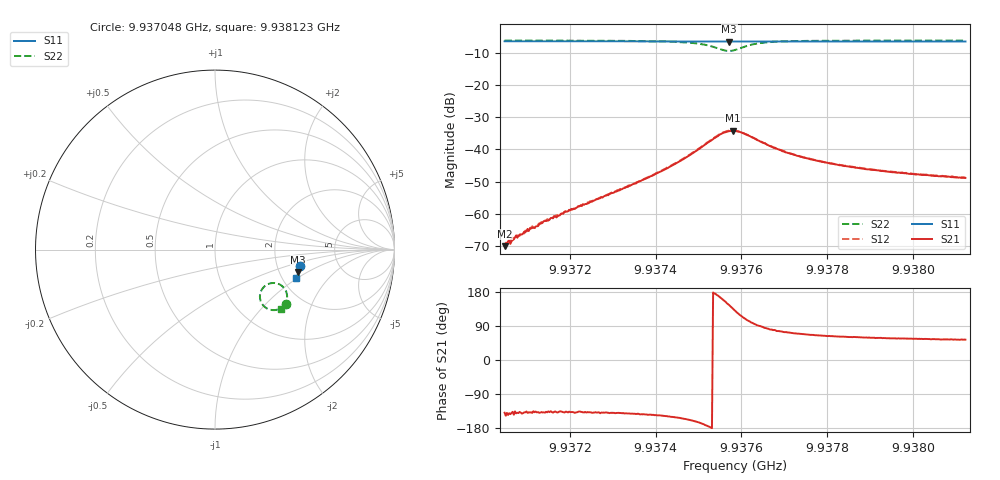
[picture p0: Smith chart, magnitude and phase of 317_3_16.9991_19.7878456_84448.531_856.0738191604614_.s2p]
#  HZ  S  RI  R  50.00
! Rohde & Schwarz Vector Network Analyzer
! Rohde-Schwarz,ZNB20-2Port,1311601062101988,3.16
! Created: UTC 3/20/2024, 11:06:16 PM
! freq[Hz]  re:S11  im:S11  re:S21  im:S21  re:S12  im:S12  re:S22  im:S22
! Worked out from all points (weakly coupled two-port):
!   401 points, 9.937048 GHz to 9.938123 GHz, reference 50 ohm
!   highest |S21| = -34.17 dB at 9.93758 GHz (marker M1); lowest = -70.1 dB at 9.937048 GHz (marker M2)
!   lowest |S11| = -6.4 dB at 9.937572 GHz (marker M3), VSWR 2.85, Z = 127 - j41.2 ohm
!   |S11| at or under -10 dB: nowhere
!   |S22| runs from -9.3 to -6.0 dB; largest |S21 - S12| = 0.00097
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9.9370476e9  0.4758 -0.0912  -0.000237 -0.000205  -0.000257 -0.000178  0.3962 -0.3025
9.937061e9  0.4756 -0.0921  -0.00027 -0.000204  -0.000278 -0.000242  0.3952 -0.3035
9.9371094e9  0.4747 -0.0951  -0.000438 -0.000395  -0.000459 -0.00039  0.3917 -0.3071
9.9371201e9  0.4745 -0.0961  -0.000457 -0.000438  -0.000458 -0.000404  0.3907 -0.3078
9.9371362e9  0.4742 -0.097  -0.000545 -0.000485  -0.000541 -0.000473  0.3896 -0.3088
9.9371685e9  0.4736 -0.0993  -0.000648 -0.000588  -0.00071 -0.000621  0.3868 -0.3113
9.9372276e9  0.4724 -0.1034  -0.000964 -0.000893  -0.00102 -0.000903  0.3811 -0.3163
9.9373459e9  0.4701 -0.1111  -0.00225 -0.00177  -0.00232 -0.00173  0.3647 -0.3275
9.9374077e9  0.4686 -0.1155  -0.00366 -0.00248  -0.00377 -0.00242  0.3495 -0.3339
9.9374642e9  0.4673 -0.1194  -0.00637 -0.003  -0.00655 -0.00296  0.3242 -0.3373
9.9375125e9  0.4657 -0.1224  -0.0113 -0.00204  -0.0116 -0.00183  0.2835 -0.324
9.9375529e9  0.4641 -0.1244  -0.0167 0.00512  -0.0168 0.0056  0.2501 -0.2604
9.9375717e9  0.4634 -0.1249  -0.0158 0.0111  -0.0157 0.0121  0.2677 -0.2132
9.9375797e9  0.4635 -0.1251  -0.0141 0.0136  -0.0137 0.0142  0.2846 -0.1981
9.9375851e9  0.4637 -0.1255  -0.0125 0.0147  -0.0122 0.0154  0.298 -0.1914
9.9376066e9  0.4638 -0.1264  -0.00612 0.0165  -0.00587 0.0169  0.3496 -0.1897
9.9376415e9  0.4638 -0.1289  1.09e-05 0.0136  0.000325 0.0137  0.3916 -0.2242
9.9377007e9  0.4628 -0.1333  0.00261 0.00881  0.00278 0.00896  0.4018 -0.2676
9.9377652e9  0.4614 -0.1377  0.0028 0.0064  0.00298 0.00636  0.3968 -0.2909
9.9378351e9  0.4599 -0.1423  0.00267 0.00497  0.0028 0.00495  0.3902 -0.3052
9.9379453e9  0.4572 -0.1496  0.00243 0.00378  0.0025 0.0038  0.381 -0.319
9.9381227e9  0.4524 -0.1609  0.00213 0.0029  0.00225 0.00288  0.3686 -0.3337
